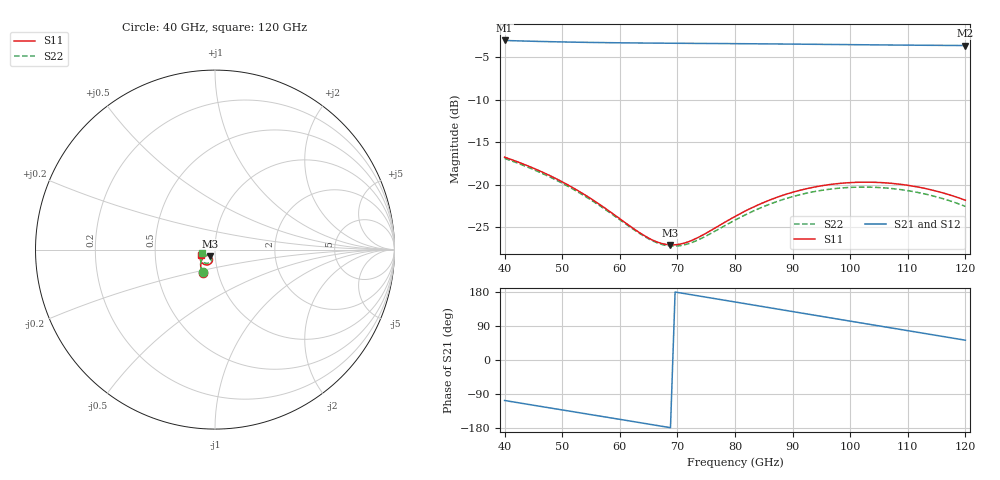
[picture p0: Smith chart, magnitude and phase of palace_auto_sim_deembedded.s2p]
! Created with skrf 1.11.0 (http://scikit-rf.org).
# GHz S DB R 50.0
!freq dBS11 angS11 dBS21 angS21 dBS12 angS12 dBS22 angS22
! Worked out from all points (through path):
!   101 points, 40 GHz to 120 GHz, reference 50 ohm
!   highest |S21| = -3.02 dB at 40 GHz (marker M1); lowest = -3.6 dB at 120 GHz (marker M2)
!   group delay of S21, straight-line fit = 6.99 ps
!   lowest |S11| = -27.1 dB at 68.8 GHz (marker M3), VSWR 1.09, Z = 47.4 - j3.45 ohm
!   |S11| at or under -10 dB: start of sweep to end of sweep
!   |S22| runs from -27.2 to -16.9 dB; largest |S21 - S12| = 1.2e-13
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40  -16.76 -117.8  -3.02 -106.8  -3.02 -106.8  -16.90 -118.6
46.4  -18.47 -132.0  -3.14 -122.8  -3.14 -122.8  -18.63 -133.0
53.6  -21.05 -143.6  -3.24 -140.7  -3.24 -140.7  -21.21 -145.0
57.6  -22.84 -146.4  -3.27 -150.6  -3.27 -150.6  -22.98 -148.1
60.8  -24.40 -145.4  -3.30 -158.6  -3.30 -158.6  -24.51 -147.5
64.8  -26.21 -138.3  -3.32 -168.6  -3.32 -168.6  -26.30 -141.2
67.2  -26.90 -130.7  -3.34 -174.6  -3.34 -174.6  -27.01 -134.3
68.8  -27.08 -124.9  -3.34 -178.6  -3.34 -178.6  -27.22 -128.8
70.4  -27.00 -119.1  -3.35 177.4  -3.35 177.4  -27.18 -123.4
72.8  -26.47 -111.6  -3.36 171.3  -3.36 171.3  -26.73 -116.2
76  -25.31 -105.4  -3.38 163.3  -3.38 163.3  -25.66 -110.2
80  -23.74 -103.2  -3.39 153.2  -3.39 153.2  -24.17 -108.1
83.2  -22.63 -104.6  -3.41 145.1  -3.41 145.1  -23.09 -109.5
87.2  -21.50 -108.6  -3.43 134.9  -3.43 134.9  -22.00 -113.6
93.6  -20.30 -117.9  -3.47 118.7  -3.47 118.7  -20.83 -123.1
97.6  -19.88 -124.5  -3.50 108.6  -3.50 108.6  -20.44 -129.9
100.8  -19.72 -130.0  -3.52 100.6  -3.52 100.6  -20.29 -135.6
104  -19.71 -135.5  -3.54 92.5  -3.54 92.5  -20.30 -141.3
107.2  -19.84 -140.9  -3.55 84.4  -3.55 84.4  -20.45 -146.9
110.4  -20.11 -146.1  -3.57 76.4  -3.57 76.4  -20.74 -152.3
113.6  -20.53 -150.9  -3.59 68.3  -3.59 68.3  -21.19 -157.3
120  -21.83 -158.9  -3.61 52.3  -3.61 52.3  -22.55 -165.7
